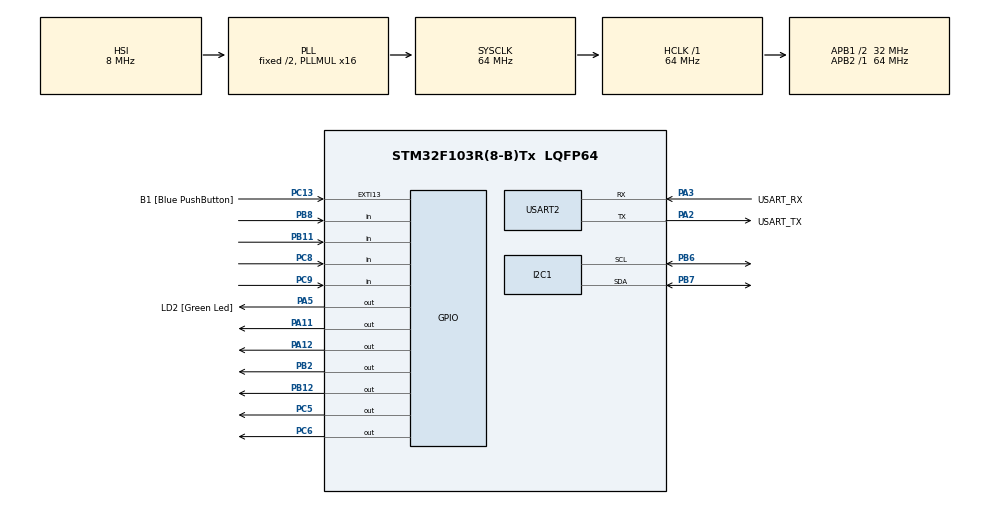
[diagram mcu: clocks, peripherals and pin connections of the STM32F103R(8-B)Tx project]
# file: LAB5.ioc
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Mcu.Family=STM32F1
Mcu.Name=STM32F103R(8-B)Tx
Mcu.Package=LQFP64
NVIC.PriorityGroup=NVIC_PRIORITYGROUP_4
NVIC.TIM3_IRQn=true\:0\:0\:false\:false\:true\:true\:true
NVIC.USART2_IRQn=true\:0\:0\:true\:false\:true\:true\:true
PA11.Signal=GPIO_Output
PA12.Signal=GPIO_Output
PA13.GPIO_Label=TMS
PA13.Mode=Serial_Wire
PA13.Signal=SYS_JTMS-SWDIO
PA14.GPIO_Label=TCK
PA14.Mode=Serial_Wire
PA14.Signal=SYS_JTCK-SWCLK
PA2.GPIO_Label=USART_TX
PA2.GPIO_Mode=GPIO_MODE_AF_PP
PA2.GPIO_PuPd=GPIO_NOPULL
PA2.GPIO_Speed=GPIO_SPEED_FREQ_LOW
PA2.Mode=Asynchronous
PA2.Signal=USART2_TX
PA3.GPIO_Label=USART_RX
PA3.GPIO_Mode=GPIO_MODE_AF_PP
PA3.GPIO_PuPd=GPIO_NOPULL
PA3.GPIO_Speed=GPIO_SPEED_FREQ_LOW
PA3.Mode=Asynchronous
PA3.Signal=USART2_RX
PA5.GPIO_Label=LD2 [Green Led]
PA5.GPIO_ModeDefaultOutputPP=GPIO_MODE_OUTPUT_PP
PA5.GPIO_PuPd=GPIO_NOPULL
PA5.GPIO_Speed=GPIO_SPEED_FREQ_LOW
PA5.Signal=GPIO_Output
PB11.Signal=GPIO_Input
PB12.Signal=GPIO_Output
PB2.Signal=GPIO_Output
PB3.GPIO_Label=SWO
PB3.Signal=SYS_JTDO-TRACESWO
PB6.Mode=I2C
PB6.Signal=I2C1_SCL
PB7.Mode=I2C
PB7.Signal=I2C1_SDA
PB8.Signal=GPIO_Input
PC13-TAMPER-RTC.GPIO_Label=B1 [Blue PushButton]
PC13-TAMPER-RTC.GPIO_PuPd=GPIO_NOPULL
PC13-TAMPER-RTC.Signal=GPXTI13
PC14-OSC32_IN.Mode=LSE-External-Oscillator
PC14-OSC32_IN.Signal=RCC_OSC32_IN
PC15-OSC32_OUT.Mode=LSE-External-Oscillator
PC15-OSC32_OUT.Signal=RCC_OSC32_OUT
PC5.Signal=GPIO_Output
PC6.Signal=GPIO_Output
PC8.Signal=GPIO_Input
PC9.Signal=GPIO_Input
PD0-OSC_IN.Mode=HSE-External-Oscillator
PD0-OSC_IN.Signal=RCC_OSC_IN
PD1-OSC_OUT.Mode=HSE-External-Oscillator
PD1-OSC_OUT.Signal=RCC_OSC_OUT
ProjectManager.HeapSize=0x200
ProjectManager.StackSize=0x400
ProjectManager.TargetToolchain=STM32CubeIDE
RCC.AHBFreq_Value=64000000
RCC.APB1CLKDivider=RCC_HCLK_DIV2
RCC.APB1Freq_Value=32000000
RCC.APB1TimFreq_Value=64000000
RCC.APB2Freq_Value=64000000
RCC.APB2TimFreq_Value=64000000
RCC.HCLKFreq_Value=64000000
RCC.PLLMUL=RCC_PLL_MUL16
RCC.RTCClockSelection=RCC_RTCCLKSOURCE_LSE
RCC.SYSCLKFreq_VALUE=64000000
RCC.SYSCLKSource=RCC_SYSCLKSOURCE_PLLCLK
RCC.USBFreq_Value=64000000
TIM1.Period=0xffff-1
TIM1.Prescaler=64-1
TIM3.Period=100-1
TIM3.Prescaler=6400-1
USART2.VirtualMode=VM_ASYNC
VP_TIM1_VS_ClockSourceINT.Mode=Internal
VP_TIM3_VS_ClockSourceINT.Mode=Internal
board=NUCLEO-F103RB

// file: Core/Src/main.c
/* USER CODE BEGIN Header */
/**
  ******************************************************************************
  * @file           : main.c
  * @brief          : Main program body
  ******************************************************************************
  * @attention
  *
  * <h2><center>&copy; Copyright (c) 2020 STMicroelectronics.
  * All rights reserved.</center></h2>
  *
  * This software component is licensed by ST under BSD 3-Clause license,
  * the "License"; You may not use this file except in compliance with the
  * License. You may obtain a copy of the License at:
  *                        opensource.org/licenses/BSD-3-Clause
  *
  ******************************************************************************
  */
/* USER CODE END Header */
#include "main.h"

/* USER CODE BEGIN Includes */
#include <stdio.h>
#include <string.h>

#include "DHT11.h"
#include "scheduler.h"
#include "i2c-lcd.h"
#include "button.h"
#include "fan.h"
#include "heator.h"
#include "heatpump.h"
/* USER CODE END Includes */

/* USER CODE BEGIN PD */
#define ONE_SECOND 100
#define TIME_OUT_DEVICE 5
#define TIME_OUT_DHT 20
/* USER CODE END PD */

I2C_HandleTypeDef hi2c1;

//TIM_HandleTypeDef htim1;
TIM_HandleTypeDef htim3;

UART_HandleTypeDef huart2;

/* USER CODE BEGIN PV */

enum mode{normal, adjustTemp, adjustHumid, adjustPeriod, simulation};
enum mode currentMode = normal;

enum choices{temp,humid};
enum choices currentChoice = temp;

uint8_t maxTemp = 40, adjustedTemp;
uint8_t maxHumid = 70, adjustedHumid;
uint8_t period = 5, adjustedPeriod;
uint8_t flag = 0;

DHT11_data result;

uint8_t s_temp, s_tempAdjusted;
uint8_t s_humid, s_humidAdjusted;
uint8_t data[10];

HAL_StatusTypeDef globalTimeout = HAL_OK;

/* USER CODE END PV */

void SystemClock_Config(void);
static void MX_GPIO_Init(void);
static void MX_USART2_UART_Init(void);
static void MX_TIM1_Init(void);
static void MX_TIM3_Init(void);
static void MX_I2C1_Init(void);
/* USER CODE BEGIN PFP */

void printValue(uint8_t);
void printString(char* input);

void getTempAndHumid(void);

void displayLCD(void);
void displayChangedMaxTemp(uint8_t input);
void displayChangedMaxHum(uint8_t input);
void displayChangedPeriod(uint8_t input);
void displayMode(uint8_t input);
void displayTemp(uint8_t input);
void displayHumid(uint8_t input);
void displayTimeout(void);
void checkInformation(void);

void heator(void);
void heatpump(void);

void normalRun(void);

void changeMode(uint8_t inputMode);

void decideTempOrHumid(void);

void mainFSM(void);

/* USER CODE END PFP */

/* USER CODE BEGIN 0 */
void printValue(uint8_t val) {
	char uart_buf[50];
	int uart_buf_len;
	uart_buf_len = sprintf(uart_buf, "%u\r\n", val);
	HAL_UART_Transmit(&huart2, (uint8_t*) uart_buf, uart_buf_len, 100);
}

void printString(char* input) {
	char uart_buf[50];
	int uart_buf_len;
	uart_buf_len = sprintf(uart_buf, "%s\r\n", input);
	HAL_UART_Transmit(&huart2, (uint8_t*) uart_buf, uart_buf_len, 100);
}

void getTempAndHumid(void) {
	if (currentMode!=simulation) {
		if (getDHT11Data(&result,TIME_OUT_DHT) == HAL_TIMEOUT) {
			globalTimeout = HAL_TIMEOUT;
			return;
		}
	}
	else {
		result.temperature[0] = s_temp;
		result.humidity[0] = s_humid;
	}
	displayLCD();
}

void displayLCD(void) {
	char temp[3];
	char hum[3];

//	uint8_t t,h;
//	if (currentMode!=simulation) {
//		t = result.temperature[0];
//		h = result.humidity[0];
//	}
//	else {
//		t = s_temp;
//		h = s_humid;
//	}

	temp[0] = result.temperature[0] / 10 + 48;
	temp[1] = result.temperature[0] % 10 + 48;
	temp[2] = '\0';

	hum[0] = result.humidity[0] / 10 + 48;
	hum[1] = result.humidity[0] % 10 + 48;
	hum[2] = '\0';

	lcd_put_cur(0, 2);
	lcd_send_string(temp);
	lcd_put_cur(0, 8);
	lcd_send_string(hum);
}

void displayChangedMaxTemp(uint8_t input) {
//	char uart_buf[50];
//	int uart_buf_len;
//	uart_buf_len = sprintf(uart_buf, "\033[2J%s%u    \r", "Adjust Maximum Temperature: ", input);
//	HAL_UART_Transmit(&huart2, (uint8_t*) uart_buf, uart_buf_len, 100);
	char temp[3];
	temp[0] = input / 10 + 48;
	temp[1] = input % 10 + 48;
	temp[2] = '\0';
	lcd_put_cur(1, 2);
	lcd_send_string(temp);
}
void displayChangedMaxHum(uint8_t input) {
//	char uart_buf[50];
//	int uart_buf_len;
//	uart_buf_len = sprintf(uart_buf, "\033[2J%s%u    \r", "Adjust Maximum Humidity: ", input);
//	HAL_UART_Transmit(&huart2, (uint8_t*) uart_buf, uart_buf_len, 100);
	char humid[3];
	humid[0] = input / 10 + 48;
	humid[1] = input % 10 + 48;
	humid[2] = '\0';
	lcd_put_cur(1, 8);
	lcd_send_string(humid);
}

void displayChangedPeriod(uint8_t input) {
//	char uart_buf[50];
//	int uart_buf_len;
//	uart_buf_len = sprintf(uart_buf, "\033[2J%s%u    \r", "Adjust Turn On Period: ", input);
//	HAL_UART_Transmit(&huart2, (uint8_t*) uart_buf, uart_buf_len, 100);
	char period[3];
	period[0] = input / 10 + 48;
	period[1] = input % 10 + 48;
	period[2] = '\0';
	lcd_put_cur(1, 14);
	lcd_send_string(period);
}

void displayTemp(uint8_t input) {
	char temp[3];
	temp[0] = input / 10 + 48;
	temp[1] = input % 10 + 48;
	temp[2] = '\0';
	lcd_put_cur(0, 2);
	lcd_send_string(temp);
}

void displayHumid(uint8_t input) {
	char humid[3];
	humid[0] = input / 10 + 48;
	humid[1] = input % 10 + 48;
	humid[2] = '\0';
	lcd_put_cur(0, 8);
	lcd_send_string(humid);
}
void displayMode(uint8_t input) {
	char mode[2];
	mode[0] = input + 48;
	mode[1] = '\0';
	lcd_put_cur(0,15);
	lcd_send_string(mode);
}

void displayTimeout(void) {
	lcd_clear();
	lcd_put_cur(0, 5);
	lcd_send_string("ERROR");
	lcd_put_cur(1, 4);
	lcd_send_string("TIME_OUT");
}

void checkInformation(void) {
	char uart_buf[50];
	int uart_buf_len;
	uart_buf_len = sprintf(uart_buf, "\033[2J%s%u%s%u%s%u   \r", "T: ", maxTemp, " | H: ", maxHumid, " | P: ", period);
	HAL_UART_Transmit(&huart2, (uint8_t*) uart_buf, uart_buf_len, 100);
}

void heator(void) {
	if ((turnOnFan2(TIME_OUT_DEVICE) == HAL_TIMEOUT)
		|| (turnOnHeator(TIME_OUT_DEVICE) == HAL_TIMEOUT)
		|| (turnOffFan3(TIME_OUT_DEVICE) == HAL_TIMEOUT)
		|| (turnOffHeatpump(TIME_OUT_DEVICE) == HAL_TIMEOUT)) {
		globalTimeout = HAL_TIMEOUT;
	}
}

void heatpump(void) {
	if ((turnOffFan2(TIME_OUT_DEVICE) == HAL_TIMEOUT)
		|| (turnOffHeator(TIME_OUT_DEVICE) == HAL_TIMEOUT)
		|| (turnOnFan3(TIME_OUT_DEVICE) == HAL_TIMEOUT)
		|| (turnOnHeatpump(TIME_OUT_DEVICE) == HAL_TIMEOUT)) {
		globalTimeout = HAL_TIMEOUT;
	}
}

void normalRun(void) {
	dispatchTask();
	if (globalTimeout == HAL_TIMEOUT) return;

	if (currentMode == simulation) {
		result.temperature[0] = s_temp;
		result.humidity[0] = s_humid;
	}

	if (result.humidity[0] >= maxHumid) {
		if (!getPowerFan1()) {
			globalTimeout = turnOnFan1(TIME_OUT_DEVICE);
			if (globalTimeout == HAL_TIMEOUT) return;
		}
	} else {
		globalTimeout = turnOffFan1(TIME_OUT_DEVICE);
		if (globalTimeout == HAL_TIMEOUT) return;
	}

	if (result.temperature[0] >= maxTemp) {
		if ((turnOffFan2(TIME_OUT_DEVICE) == HAL_TIMEOUT) || (turnOffHeator(TIME_OUT_DEVICE) == HAL_TIMEOUT)) {
			globalTimeout = HAL_TIMEOUT;
			return;
		}
	}

	currentMode = buttonChangeMode(currentMode, 5, changeMode);
}

void changeMode(uint8_t inputMode) {
	switch(inputMode) {
	case normal:
		adjustedTemp = maxTemp;
		displayMode(adjustTemp);
		break;
	case adjustTemp:
		adjustedHumid = maxHumid;
		maxTemp = adjustedTemp;
		displayMode(adjustHumid);
		break;
	case adjustHumid:
		maxHumid = adjustedHumid;
		adjustedPeriod = period;
		displayMode(adjustPeriod);
		break;
	case adjustPeriod:
		period = adjustedPeriod;
		deleteAllTask();
		insertTaskBack(getTempAndHumid, 200);
		insertTaskFirstTime(heator, 0, period*ONE_SECOND);
		insertTaskFirstTime(heatpump, period*ONE_SECOND, period*ONE_SECOND);
		s_temp = s_tempAdjusted = result.temperature[0];
		s_humid = s_humidAdjusted = result.humidity[0];
		displayMode(simulation);
		HAL_GPIO_WritePin(TempOrHumidLed_Port, TempOrHumidLed_Pin, GPIO_PIN_SET);
		break;
	case simulation:
		displayMode(normal);
		HAL_GPIO_WritePin(TempOrHumidLed_Port, TempOrHumidLed_Pin, GPIO_PIN_RESET);
		break;
	}
	//checkInformation();
}

void changeChoice(uint8_t inputChoice) {
	HAL_GPIO_TogglePin(TempOrHumidLed_Port, TempOrHumidLed_Pin);
//	switch(inputChoice) {
//	case temp:
//		s_temp = s_tempAdjusted;
//		break;
//	case humid:
//		s_humid = s_humidAdjusted;
//		break;
//	}
}

void decideTempOrHumid(void) {
	switch(currentChoice) {
	case temp:
		s_temp = buttonIncreaseValue(s_temp, displayTemp, 61);
		s_temp = buttonDecreaseValue(s_temp, displayTemp, 61);
		break;
	case  humid:
		s_humid = buttonIncreaseValue(s_humid, displayHumid, 101);
		s_humid = buttonDecreaseValue(s_humid, displayHumid, 101);
		break;
	}
}

void mainFSM(void) {
	switch(currentMode) {
	case normal:
		normalRun();
		break;
	case adjustTemp:
		adjustedTemp = buttonIncreaseValue(adjustedTemp, displayChangedMaxTemp, 61);
		adjustedTemp = buttonDecreaseValue(adjustedTemp, displayChangedMaxTemp, 61);
		normalRun();
		break;
	case adjustHumid:
		adjustedHumid = buttonIncreaseValue(adjustedHumid, displayChangedMaxHum, 101);
		adjustedHumid = buttonDecreaseValue(adjustedHumid, displayChangedMaxHum, 101);
		normalRun();
		break;
	case adjustPeriod:
		adjustedPeriod = buttonIncreaseValue(adjustedPeriod, displayChangedPeriod, 61);
		adjustedPeriod = buttonDecreaseValue(adjustedPeriod, displayChangedPeriod, 61);
		normalRun();
		break;
	case simulation:
		decideTempOrHumid();
		currentChoice = buttonDecide(currentChoice, changeChoice);
		normalRun();
		break;
	}
}

/* USER CODE END 0 */

int main(void)
{

  /* MCU Configuration--------------------------------------------------------*/

  /* Reset of all peripherals, Initializes the Flash interface and the Systick. */
  HAL_Init();

  /* Configure the system clock */
  SystemClock_Config();

  /* Initialize all configured peripherals */
  MX_GPIO_Init();
  MX_USART2_UART_Init();
  MX_TIM1_Init();
  MX_TIM3_Init();
  MX_I2C1_Init();
  /* USER CODE BEGIN 2 */
  schedulerInit();
  HAL_TIM_Base_Start(&htim1);
  HAL_TIM_Base_Start_IT(&htim3);
  //HAL_UART_Receive_IT(&huart2, data, sizeof(data));

  insertTaskFirstTime(getTempAndHumid, 120, 200);
  insertTaskFirstTime(heator, 125, period*ONE_SECOND);
  insertTaskFirstTime(heatpump, 125+period*ONE_SECOND, period*ONE_SECOND);

  lcd_init();
  lcd_put_cur(0, 5);
  lcd_send_string("LAB 5");
  HAL_Delay(1000);
  prepareLCD();
  displayMode(currentMode);
  displayChangedMaxTemp(maxTemp);
  displayChangedMaxHum(maxHumid);
  displayChangedPeriod(period);

  /* USER CODE END 2 */

  /* Infinite loop */
  while (1)
  {

    /* USER CODE BEGIN 3 */
	  mainFSM();
	  if (globalTimeout == HAL_TIMEOUT) {
		  displayTimeout();
		  deleteAllTask();
		  break;
	  }
	  //globalTimeout = HAL_OK;
  }
  /* USER CODE END 3 */
}

void SystemClock_Config(void)
{
  RCC_OscInitTypeDef RCC_OscInitStruct = {0};
  RCC_ClkInitTypeDef RCC_ClkInitStruct = {0};

  /** Initializes the RCC Oscillators according to the specified parameters
  * in the RCC_OscInitTypeDef structure.
  */
  RCC_OscInitStruct.OscillatorType = RCC_OSCILLATORTYPE_HSI;
  RCC_OscInitStruct.HSIState = RCC_HSI_ON;
  RCC_OscInitStruct.HSICalibrationValue = RCC_HSICALIBRATION_DEFAULT;
  RCC_OscInitStruct.PLL.PLLState = RCC_PLL_ON;
  RCC_OscInitStruct.PLL.PLLSource = RCC_PLLSOURCE_HSI_DIV2;
  RCC_OscInitStruct.PLL.PLLMUL = RCC_PLL_MUL16;
  if (HAL_RCC_OscConfig(&RCC_OscInitStruct) != HAL_OK)
  {
    Error_Handler();
  }
  /** Initializes the CPU, AHB and APB buses clocks
  */
  RCC_ClkInitStruct.ClockType = RCC_CLOCKTYPE_HCLK|RCC_CLOCKTYPE_SYSCLK
                              |RCC_CLOCKTYPE_PCLK1|RCC_CLOCKTYPE_PCLK2;
  RCC_ClkInitStruct.SYSCLKSource = RCC_SYSCLKSOURCE_PLLCLK;
  RCC_ClkInitStruct.AHBCLKDivider = RCC_SYSCLK_DIV1;
  RCC_ClkInitStruct.APB1CLKDivider = RCC_HCLK_DIV2;
  RCC_ClkInitStruct.APB2CLKDivider = RCC_HCLK_DIV1;

  if (HAL_RCC_ClockConfig(&RCC_ClkInitStruct, FLASH_LATENCY_2) != HAL_OK)
  {
    Error_Handler();
  }
}

static void MX_I2C1_Init(void)
{

  hi2c1.Instance = I2C1;
  hi2c1.Init.ClockSpeed = 100000;
  hi2c1.Init.DutyCycle = I2C_DUTYCYCLE_2;
  hi2c1.Init.OwnAddress1 = 0;
  hi2c1.Init.AddressingMode = I2C_ADDRESSINGMODE_7BIT;
  hi2c1.Init.DualAddressMode = I2C_DUALADDRESS_DISABLE;
  hi2c1.Init.OwnAddress2 = 0;
  hi2c1.Init.GeneralCallMode = I2C_GENERALCALL_DISABLE;
  hi2c1.Init.NoStretchMode = I2C_NOSTRETCH_DISABLE;
  if (HAL_I2C_Init(&hi2c1) != HAL_OK)
  {
    Error_Handler();
  }

}

static void MX_TIM1_Init(void)
{

  TIM_ClockConfigTypeDef sClockSourceConfig = {0};
  TIM_MasterConfigTypeDef sMasterConfig = {0};

  htim1.Instance = TIM1;
  htim1.Init.Prescaler = 64-1;
  htim1.Init.CounterMode = TIM_COUNTERMODE_UP;
  htim1.Init.Period = 0xffff-1;
  htim1.Init.ClockDivision = TIM_CLOCKDIVISION_DIV1;
  htim1.Init.RepetitionCounter = 0;
  htim1.Init.AutoReloadPreload = TIM_AUTORELOAD_PRELOAD_DISABLE;
  if (HAL_TIM_Base_Init(&htim1) != HAL_OK)
  {
    Error_Handler();
  }
  sClockSourceConfig.ClockSource = TIM_CLOCKSOURCE_INTERNAL;
  if (HAL_TIM_ConfigClockSource(&htim1, &sClockSourceConfig) != HAL_OK)
  {
    Error_Handler();
  }
  sMasterConfig.MasterOutputTrigger = TIM_TRGO_RESET;
  sMasterConfig.MasterSlaveMode = TIM_MASTERSLAVEMODE_DISABLE;
  if (HAL_TIMEx_MasterConfigSynchronization(&htim1, &sMasterConfig) != HAL_OK)
  {
    Error_Handler();
  }

}

static void MX_TIM3_Init(void)
{

  TIM_ClockConfigTypeDef sClockSourceConfig = {0};
  TIM_MasterConfigTypeDef sMasterConfig = {0};

  htim3.Instance = TIM3;
  htim3.Init.Prescaler = 6400-1;
  htim3.Init.CounterMode = TIM_COUNTERMODE_UP;
  htim3.Init.Period = 100-1;
  htim3.Init.ClockDivision = TIM_CLOCKDIVISION_DIV1;
  htim3.Init.AutoReloadPreload = TIM_AUTORELOAD_PRELOAD_DISABLE;
  if (HAL_TIM_Base_Init(&htim3) != HAL_OK)
  {
    Error_Handler();
  }
  sClockSourceConfig.ClockSource = TIM_CLOCKSOURCE_INTERNAL;
  if (HAL_TIM_ConfigClockSource(&htim3, &sClockSourceConfig) != HAL_OK)
  {
    Error_Handler();
  }
  sMasterConfig.MasterOutputTrigger = TIM_TRGO_RESET;
  sMasterConfig.MasterSlaveMode = TIM_MASTERSLAVEMODE_DISABLE;
  if (HAL_TIMEx_MasterConfigSynchronization(&htim3, &sMasterConfig) != HAL_OK)
  {
    Error_Handler();
  }

}

static void MX_USART2_UART_Init(void)
{

  huart2.Instance = USART2;
  huart2.Init.BaudRate = 115200;
  huart2.Init.WordLength = UART_WORDLENGTH_8B;
  huart2.Init.StopBits = UART_STOPBITS_1;
  huart2.Init.Parity = UART_PARITY_NONE;
  huart2.Init.Mode = UART_MODE_TX_RX;
  huart2.Init.HwFlowCtl = UART_HWCONTROL_NONE;
  huart2.Init.OverSampling = UART_OVERSAMPLING_16;
  if (HAL_UART_Init(&huart2) != HAL_OK)
  {
    Error_Handler();
  }

}

static void MX_GPIO_Init(void)
{
  GPIO_InitTypeDef GPIO_InitStruct = {0};

  /* GPIO Ports Clock Enable */
  __HAL_RCC_GPIOC_CLK_ENABLE();
  __HAL_RCC_GPIOD_CLK_ENABLE();
  __HAL_RCC_GPIOA_CLK_ENABLE();
  __HAL_RCC_GPIOB_CLK_ENABLE();

  /*Configure GPIO pin Output Level */
  HAL_GPIO_WritePin(GPIOA, LD2_Pin|GPIO_PIN_11|GPIO_PIN_12, GPIO_PIN_RESET);

  /*Configure GPIO pin Output Level */
  HAL_GPIO_WritePin(GPIOC, GPIO_PIN_5|GPIO_PIN_6, GPIO_PIN_RESET);

  /*Configure GPIO pin Output Level */
  HAL_GPIO_WritePin(GPIOB, GPIO_PIN_2|GPIO_PIN_12, GPIO_PIN_RESET);

  /*Configure GPIO pin : B1_Pin */
  GPIO_InitStruct.Pin = B1_Pin;
  GPIO_InitStruct.Mode = GPIO_MODE_IT_RISING;
  GPIO_InitStruct.Pull = GPIO_NOPULL;
  HAL_GPIO_Init(B1_GPIO_Port, &GPIO_InitStruct);

  /*Configure GPIO pins : LD2_Pin PA11 PA12 */
  GPIO_InitStruct.Pin = LD2_Pin|GPIO_PIN_11|GPIO_PIN_12;
  GPIO_InitStruct.Mode = GPIO_MODE_OUTPUT_PP;
  GPIO_InitStruct.Pull = GPIO_NOPULL;
  GPIO_InitStruct.Speed = GPIO_SPEED_FREQ_LOW;
  HAL_GPIO_Init(GPIOA, &GPIO_InitStruct);

  /*Configure GPIO pins : PC5 PC6 */
  GPIO_InitStruct.Pin = GPIO_PIN_5|GPIO_PIN_6;
  GPIO_InitStruct.Mode = GPIO_MODE_OUTPUT_PP;
  GPIO_InitStruct.Pull = GPIO_NOPULL;
  GPIO_InitStruct.Speed = GPIO_SPEED_FREQ_LOW;
  HAL_GPIO_Init(GPIOC, &GPIO_InitStruct);

  /*Configure GPIO pins : PB2 PB12 */
  GPIO_InitStruct.Pin = GPIO_PIN_2|GPIO_PIN_12;
  GPIO_InitStruct.Mode = GPIO_MODE_OUTPUT_PP;
  GPIO_InitStruct.Pull = GPIO_NOPULL;
  GPIO_InitStruct.Speed = GPIO_SPEED_FREQ_LOW;
  HAL_GPIO_Init(GPIOB, &GPIO_InitStruct);

  /*Configure GPIO pins : PB11 PB8 */
  GPIO_InitStruct.Pin = GPIO_PIN_11|GPIO_PIN_8;
  GPIO_InitStruct.Mode = GPIO_MODE_INPUT;
  GPIO_InitStruct.Pull = GPIO_NOPULL;
  HAL_GPIO_Init(GPIOB, &GPIO_InitStruct);

  /*Configure GPIO pins : PC8 PC9 */
  GPIO_InitStruct.Pin = GPIO_PIN_8|GPIO_PIN_9;
  GPIO_InitStruct.Mode = GPIO_MODE_INPUT;
  GPIO_InitStruct.Pull = GPIO_NOPULL;
  HAL_GPIO_Init(GPIOC, &GPIO_InitStruct);

}

/* USER CODE BEGIN 4 */

void HAL_UART_RxCpltCallback(UART_HandleTypeDef *huart) {
//	if (huart->Instance == huart2.Instance) {
//		HAL_UART_Receive_IT(&huart2, data, sizeof(data));
//	}
}

void HAL_TIM_PeriodElapsedCallback(TIM_HandleTypeDef *htim) {
	if ((htim == &htim3)) {
		readIncreaseButton();
		readDecreaseButton();
		readModeButton();
		readDecideButton();
		if (getPowerFan1()) runFan1(result.humidity[0]);
		updateTask();
	}
}
/* USER CODE END 4 */

void Error_Handler(void)
{
}

/************************ (C) COPYRIGHT STMicroelectronics *****END OF FILE****/
